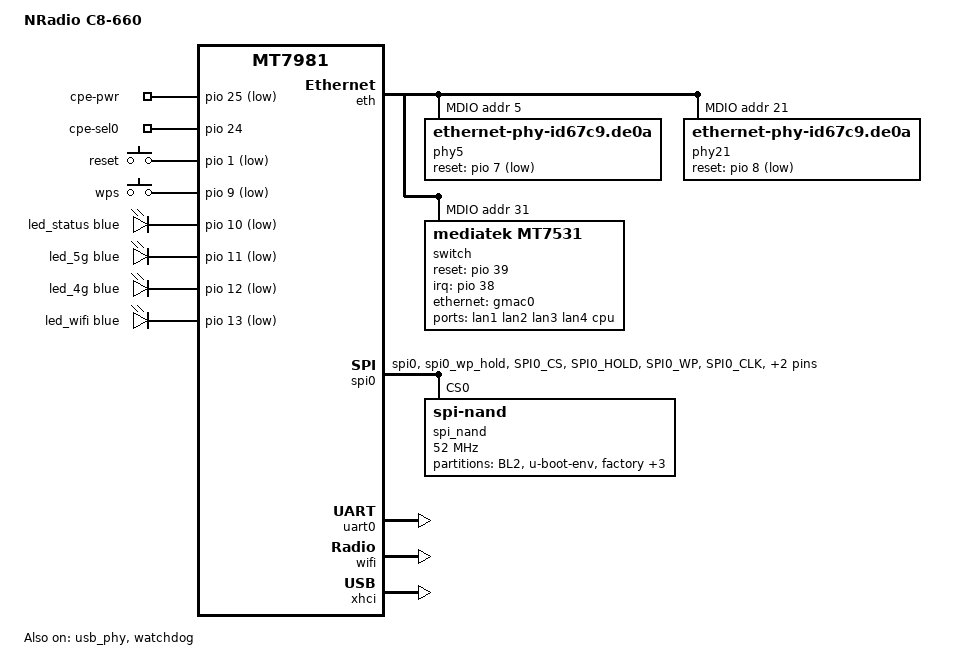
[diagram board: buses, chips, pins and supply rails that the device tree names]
// SPDX-License-Identifier: GPL-2.0-or-later OR MIT
/*
 * NRadio C8-660 (ODM board WT9103, MT7981B)
 *
 * 3x GbE on MT7531 + 1x 2.5G on switch port 5, 2.5G WAN on gmac1,
 * 512 MiB SPI-NAND, M.2 5G module on USB (powered by cpe-pwr).
 *
 * Pin map / PHY / partition offsets come from NRadio's own second-system DTS
 * (mt7981-nradio-wt9103-2nd.dts + mt7981-nradio-snand-2nd.dtsi, published with
 * "鲲鹏双系统第二系统开发适配指南"); hanwckf's mt7981-nradio-wt9103{,-512m}.dts
 * agrees except for the WPS polarity. Only difference here: single-system flash
 * layout (one ubi instead of ubi_1st + app_data + ubi_2nd).
 */

/dts-v1/;

#include <dt-bindings/gpio/gpio.h>
#include <dt-bindings/input/input.h>
#include <dt-bindings/leds/common.h>
#include <dt-bindings/pinctrl/mt65xx.h>

#include "mt7981b.dtsi"

/ {
	model = "NRadio C8-660";
	compatible = "nradio,c8-660", "mediatek,mt7981";

	aliases {
		led-boot = &led_status;
		led-failsafe = &led_status;
		led-running = &led_status;
		led-upgrade = &led_status;
		serial0 = &uart0;
	};

	chosen {
		stdout-path = "serial0:115200n8";
	};

	/* 5G module power rail and SIM slot select, driven from userspace */
	/* 5G module power rail and SIM slot select, exported to userspace.
	 * The "gpio-export" driver ships in OpenWrt's generic patch
	 * 800-GPIO-add-named-gpio-exports (built via CONFIG_GPIO_SYSFS),
	 * so no extra package is required. */
	gpio-export {
		compatible = "gpio-export";

		cpepower {
			gpio-export,name = "cpe-pwr";
			gpio-export,output = <0>;
			gpios = <&pio 25 GPIO_ACTIVE_LOW>;
		};

		cpesel0 {
			gpio-export,name = "cpe-sel0";
			gpio-export,output = <1>;
			gpios = <&pio 24 GPIO_ACTIVE_HIGH>;
		};
	};

	gpio-keys {
		compatible = "gpio-keys";

		button-reset {
			label = "reset";
			linux,code = <KEY_RESTART>;
			gpios = <&pio 1 GPIO_ACTIVE_LOW>;
		};

		button-wps {
			label = "wps";
			linux,code = <KEY_WPS_BUTTON>;
			gpios = <&pio 9 GPIO_ACTIVE_LOW>;
		};
	};

	gpio-leds {
		compatible = "gpio-leds";

		led_status: led-0 {
			function = LED_FUNCTION_STATUS;
			color = <LED_COLOR_ID_BLUE>;
			gpios = <&pio 10 GPIO_ACTIVE_LOW>;
		};

		led_5g: led-1 {
			function = LED_FUNCTION_INDICATOR;
			function-enumerator = <0>;
			color = <LED_COLOR_ID_BLUE>;
			gpios = <&pio 11 GPIO_ACTIVE_LOW>;
		};

		led_4g: led-2 {
			function = LED_FUNCTION_INDICATOR;
			function-enumerator = <1>;
			color = <LED_COLOR_ID_BLUE>;
			gpios = <&pio 12 GPIO_ACTIVE_LOW>;
		};

		led_wifi: led-3 {
			function = LED_FUNCTION_WLAN;
			color = <LED_COLOR_ID_BLUE>;
			gpios = <&pio 13 GPIO_ACTIVE_LOW>;
		};
	};
};

&eth {
	status = "okay";

	gmac0: mac@0 {
		compatible = "mediatek,eth-mac";
		reg = <0>;
		phy-mode = "2500base-x";

		fixed-link {
			speed = <2500>;
			full-duplex;
			pause;
		};
	};

	gmac1: mac@1 {
		compatible = "mediatek,eth-mac";
		reg = <1>;
		phy-mode = "2500base-x";

		/* WAN: fixed 2.5G link, same as the vendor 2nd-system DTS.
		 * phy21 is still probed below but not attached to the MAC. */
		fixed-link {
			speed = <2500>;
			full-duplex;
			pause;
		};
	};

	mdio: mdio-bus {
		#address-cells = <1>;
		#size-cells = <0>;

		/* 2.5G ports: MaxLinear GPY211B (PHY ID 0x67c9de0a), own reset GPIO each.
		 * Values taken from hanwckf/immortalwrt-mt798x (mt7981-nradio-wt9103.dts). */
		phy5: ethernet-phy@5 {
			compatible = "ethernet-phy-id67c9.de0a";
			reg = <5>;
			phy-mode = "2500base-x";
			reset-gpios = <&pio 7 GPIO_ACTIVE_LOW>;
			reset-assert-us = <600>;
			reset-deassert-us = <20000>;
		};

		phy21: ethernet-phy@21 {
			compatible = "ethernet-phy-id67c9.de0a";
			reg = <21>;
			phy-mode = "2500base-x";
			reset-gpios = <&pio 8 GPIO_ACTIVE_LOW>;
			reset-assert-us = <600>;
			reset-deassert-us = <20000>;
		};

		switch@1f {
			compatible = "mediatek,mt7531";
			reg = <31>;
			/* Vanilla kernel convention: upstream uses ACTIVE_HIGH on every
			 * MT7981 board with this switch (c8-668gl, rax3000m, 360t7).
			 * X-WRT's ACTIVE_LOW goes together with their kernel patch
			 * "net: dsa: mt7530: fix reset polarity" (eaee5d2f), not usable here. */
			reset-gpios = <&pio 39 GPIO_ACTIVE_HIGH>;
			interrupt-controller;
			#interrupt-cells = <1>;
			interrupt-parent = <&pio>;
			interrupts = <38 IRQ_TYPE_LEVEL_HIGH>;

			ports {
				#address-cells = <1>;
				#size-cells = <0>;

				port@1 {
					reg = <1>;
					label = "lan1";
				};

				port@2 {
					reg = <2>;
					label = "lan2";
				};

				port@3 {
					reg = <3>;
					label = "lan3";
				};

				port@5 {
					reg = <5>;
					label = "lan4";
					phy-mode = "2500base-x";
					phy-handle = <&phy5>;
				};

				port@6 {
					reg = <6>;
					label = "cpu";
					ethernet = <&gmac0>;
					phy-mode = "2500base-x";

					fixed-link {
						speed = <2500>;
						full-duplex;
						pause;
					};
				};
			};
		};
	};
};

&spi0 {
	pinctrl-names = "default";
	pinctrl-0 = <&spi0_flash_pins>;
	status = "okay";

	spi_nand: flash@0 {
		compatible = "spi-nand";
		reg = <0>;

		spi-cal-enable;
		spi-cal-mode = "read-data";
		spi-cal-datalen = <7>;
		spi-cal-data = /bits/ 8 <0x53 0x50 0x49 0x4e 0x41 0x4e 0x44>;
		spi-cal-addrlen = <5>;
		spi-cal-addr = /bits/ 32 <0x0 0x0 0x0 0x0 0x0>;

		spi-max-frequency = <52000000>;
		spi-tx-bus-width = <4>;
		spi-rx-bus-width = <4>;

		mediatek,nmbm;
		mediatek,bmt-max-ratio = <1>;
		mediatek,bmt-max-reserved-blocks = <64>;

		partitions {
			compatible = "fixed-partitions";
			#address-cells = <1>;
			#size-cells = <1>;

			partition@0 {
				label = "BL2";
				reg = <0x0 0x100000>;
				read-only;
			};

			partition@100000 {
				label = "u-boot-env";
				reg = <0x100000 0x80000>;
			};

			factory: partition@180000 {
				label = "factory";
				reg = <0x180000 0x180000>;

				nvmem-layout {
					compatible = "fixed-layout";
					#address-cells = <1>;
					#size-cells = <1>;

					eeprom_factory_0: eeprom@0 {
						reg = <0x0 0x1000>;
					};
				};
			};

			partition@300000 {
				label = "bdinfo";
				reg = <0x300000 0x80000>;
			};

			partition@380000 {
				label = "FIP";
				reg = <0x380000 0x200000>;
				read-only;
			};

			/* Single system: one ubi over the whole tail.
			 * Vendor layout would be ubi(ubi_1st) 64M + app_data 16M + ubi_2nd
			 * 0x1AA80000 here; those three are merged on purpose. */
			partition@580000 {
				label = "ubi";
				reg = <0x580000 0x1fa80000>;
				compatible = "linux,ubi";
			};
		};
	};
};

&pio {
	spi0_flash_pins: spi0-pins {
		mux {
			function = "spi";
			groups = "spi0", "spi0_wp_hold";
		};

		conf-pu {
			pins = "SPI0_CS", "SPI0_HOLD", "SPI0_WP";
			drive-strength = <MTK_DRIVE_8mA>;
			bias-pull-up = <MTK_PUPD_SET_R1R0_11>;
		};

		conf-pd {
			pins = "SPI0_CLK", "SPI0_MOSI", "SPI0_MISO";
			drive-strength = <MTK_DRIVE_8mA>;
			bias-pull-down = <MTK_PUPD_SET_R1R0_11>;
		};
	};
};

&uart0 {
	status = "okay";
};

&usb_phy {
	status = "okay";
};

&watchdog {
	status = "okay";
};

&wifi {
	nvmem-cells = <&eeprom_factory_0>;
	nvmem-cell-names = "eeprom";
	status = "okay";
};

&xhci {
	status = "okay";
};
